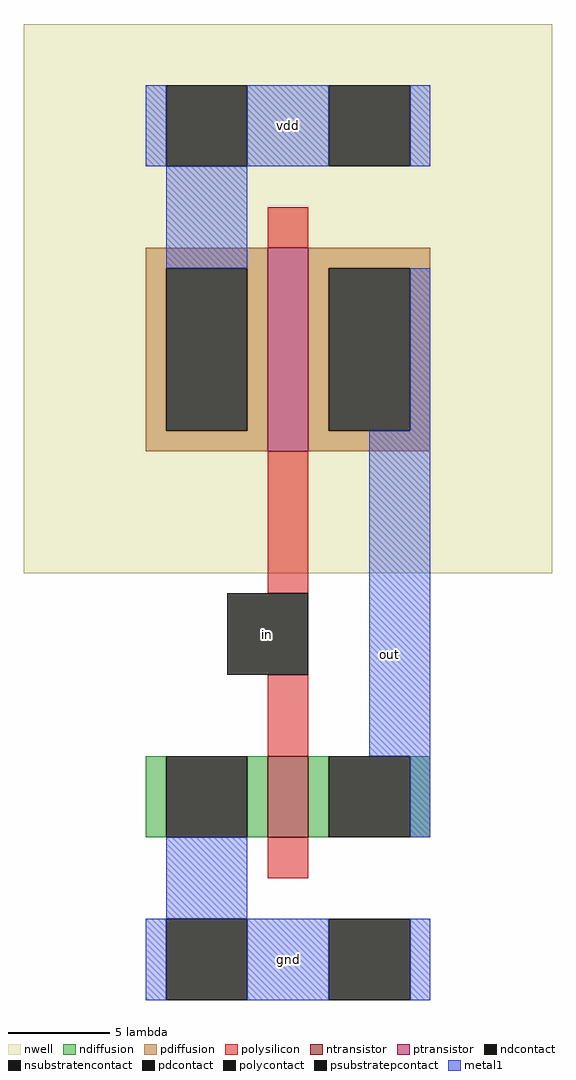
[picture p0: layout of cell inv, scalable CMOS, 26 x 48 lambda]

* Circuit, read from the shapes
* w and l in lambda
.subckt inv gnd in out vdd
M1 out in gnd gnd nfet w=4 l=2
M2 out in vdd vdd pfet w=10 l=2
.ends

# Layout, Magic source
magic
tech scmos
<< nwell >>
rect -13 -4 13 23
<< ntransistor >>
rect -1 -17 1 -13
<< ptransistor >>
rect -1 2 1 12
<< ndiffusion >>
rect -7 -17 -6 -13
rect -2 -17 -1 -13
rect 1 -17 2 -13
rect 6 -17 7 -13
<< pdiffusion >>
rect -7 11 -1 12
rect -7 3 -6 11
rect -2 3 -1 11
rect -7 2 -1 3
rect 1 11 7 12
rect 1 3 2 11
rect 6 3 7 11
rect 1 2 7 3
<< ndcontact >>
rect -6 -17 -2 -13
rect 2 -17 6 -13
<< pdcontact >>
rect -6 3 -2 11
rect 2 3 6 11
<< psubstratepcontact >>
rect -6 -25 -2 -21
rect 2 -25 6 -21
<< nsubstratencontact >>
rect -6 16 -2 20
rect 2 16 6 20
<< polysilicon >>
rect -1 12 1 14
rect -1 -5 1 2
rect -1 -13 1 -9
rect -1 -19 1 -17
<< polycontact >>
rect -3 -9 1 -5
<< metal1 >>
rect -7 16 -6 20
rect -2 16 2 20
rect 6 16 7 20
rect -6 11 -2 16
rect 6 3 7 11
rect 4 -13 7 3
rect 6 -17 7 -13
rect -6 -21 -2 -17
rect -7 -25 -6 -21
rect -2 -25 2 -21
rect 6 -25 7 -21
<< labels >>
rlabel metal1 0 18 0 18 5 vdd
rlabel metal1 0 -23 0 -23 1 gnd
rlabel metal1 5 -8 5 -8 1 out
rlabel polycontact -1 -7 -1 -7 1 in
<< end >>
